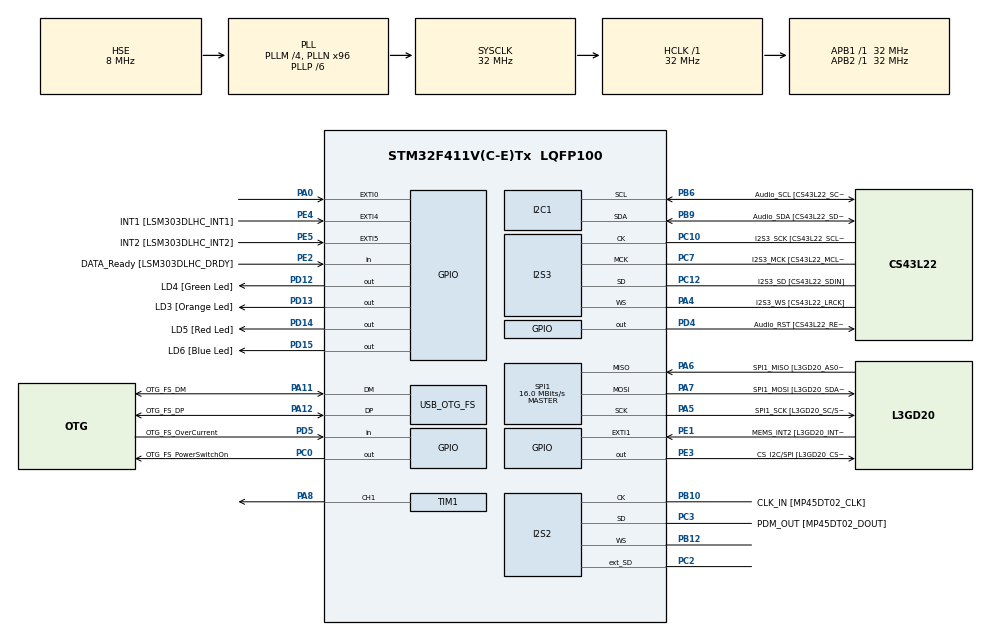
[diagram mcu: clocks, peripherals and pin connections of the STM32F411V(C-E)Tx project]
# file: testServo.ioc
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I2S2.AudioFreq=I2S_AUDIOFREQ_96K
I2S2.ErrorAudioFreq=0.15 %
I2S2.FullDuplexMode=I2S_FULLDUPLEXMODE_ENABLE
I2S2.Instance=SPI$Index
I2S2.RealAudioFreq=96.153 KHz
I2S2.VirtualMode=I2S_MODE_MASTER
I2S3.AudioFreq=I2S_AUDIOFREQ_96K
I2S3.ErrorAudioFreq=-6.99 %
I2S3.FullDuplexMode=I2S_FULLDUPLEXMODE_DISABLE
I2S3.Instance=SPI$Index
I2S3.RealAudioFreq=89.285 KHz
I2S3.VirtualMode=I2S_MODE_MASTER
Mcu.Family=STM32F4
Mcu.Name=STM32F411V(C-E)Tx
Mcu.Package=LQFP100
NVIC.OTG_FS_IRQn=true\:0\:0\:false\:false\:true\:true\:true
NVIC.PriorityGroup=NVIC_PRIORITYGROUP_0
PA0-WKUP.GPIO_ModeDefaultEXTI=GPIO_MODE_EVT_RISING
PA0-WKUP.Signal=GPXTI0
PA10.GPIO_Label=OTG_FS_ID
PA10.Signal=USB_OTG_FS_ID
PA11.GPIO_Label=OTG_FS_DM
PA11.Mode=Host_Only
PA11.Signal=USB_OTG_FS_DM
PA12.GPIO_Label=OTG_FS_DP
PA12.Mode=Host_Only
PA12.Signal=USB_OTG_FS_DP
PA13.GPIO_Label=SWDIO
PA13.Mode=Serial_Wire
PA13.Signal=SYS_JTMS-SWDIO
PA14.GPIO_Label=SWCLK
PA14.Mode=Serial_Wire
PA14.Signal=SYS_JTCK-SWCLK
PA4.GPIO_Label=I2S3_WS [CS43L22_LRCK]
PA4.GPIO_Mode=GPIO_MODE_AF_PP
PA4.GPIO_PuPd=GPIO_NOPULL
PA4.GPIO_Speed=GPIO_SPEED_FREQ_LOW
PA4.Mode=Half_Duplex_Master
PA4.Signal=I2S3_WS
PA5.GPIO_Label=SPI1_SCK [L3GD20_SC/SPC]
PA5.Mode=Full_Duplex_Master
PA5.Signal=SPI1_SCK
PA6.GPIO_Label=SPI1_MISO [L3GD20_AS0/SDO]
PA6.Mode=Full_Duplex_Master
PA6.Signal=SPI1_MISO
PA7.GPIO_Label=SPI1_MOSI [L3GD20_SDA/SDI/SDO]
PA7.Mode=Full_Duplex_Master
PA7.Signal=SPI1_MOSI
PA8.Signal=S_TIM1_CH1
PB10.GPIO_Label=CLK_IN [MP45DT02_CLK]
PB10.Mode=Full_Duplex_Master
PB10.Signal=I2S2_CK
PB12.Mode=Full_Duplex_Master
PB12.Signal=I2S2_WS
PB3.GPIO_Label=SWO
PB3.Signal=SYS_JTDO-SWO
PB6.GPIO_Label=Audio_SCL [CS43L22_SCL]
PB6.GPIO_Mode=GPIO_MODE_AF_OD
PB6.GPIO_PuPd=GPIO_NOPULL
PB6.GPIO_Speed=GPIO_SPEED_FREQ_LOW
PB6.Mode=I2C
PB6.Signal=I2C1_SCL
PB9.GPIO_Label=Audio_SDA [CS43L22_SDA]
PB9.GPIO_Mode=GPIO_MODE_AF_OD
PB9.GPIO_PuPd=GPIO_NOPULL
PB9.GPIO_Speed=GPIO_SPEED_FREQ_LOW
PB9.Mode=I2C
PB9.Signal=I2C1_SDA
PC0.GPIO_Label=OTG_FS_PowerSwitchOn
PC0.PinState=GPIO_PIN_SET
PC0.Signal=GPIO_Output
PC10.GPIO_Label=I2S3_SCK [CS43L22_SCLK]
PC10.GPIO_Mode=GPIO_MODE_AF_PP
PC10.GPIO_PuPd=GPIO_NOPULL
PC10.GPIO_Speed=GPIO_SPEED_FREQ_LOW
PC10.Mode=Half_Duplex_Master
PC10.Signal=I2S3_CK
PC12.GPIO_Label=I2S3_SD [CS43L22_SDIN]
PC12.GPIO_Mode=GPIO_MODE_AF_PP
PC12.GPIO_PuPd=GPIO_NOPULL
PC12.GPIO_Speed=GPIO_SPEED_FREQ_LOW
PC12.Mode=Half_Duplex_Master
PC12.Signal=I2S3_SD
PC14-OSC32_IN.GPIO_Label=PC14-OSC32_IN
PC14-OSC32_IN.Mode=LSE-External-Oscillator
PC14-OSC32_IN.Signal=RCC_OSC32_IN
PC15-OSC32_OUT.GPIO_Label=PC15-OSC32_OUT
PC15-OSC32_OUT.Mode=LSE-External-Oscillator
PC15-OSC32_OUT.Signal=RCC_OSC32_OUT
PC2.Mode=Full_Duplex_Master
PC2.Signal=I2S2_ext_SD
PC3.GPIO_Label=PDM_OUT [MP45DT02_DOUT]
PC3.Mode=Full_Duplex_Master
PC3.Signal=I2S2_SD
PC7.GPIO_Label=I2S3_MCK [CS43L22_MCLK]
PC7.GPIO_Mode=GPIO_MODE_AF_PP
PC7.GPIO_PuPd=GPIO_NOPULL
PC7.GPIO_Speed=GPIO_SPEED_FREQ_LOW
PC7.Mode=Master_Clock_Activated
PC7.Signal=I2S3_MCK
PD12.GPIO_Label=LD4 [Green Led]
PD12.GPIO_PuPd=GPIO_NOPULL
PD12.GPIO_Speed=GPIO_SPEED_FREQ_LOW
PD12.Signal=GPIO_Output
PD13.GPIO_Label=LD3 [Orange Led]
PD13.GPIO_PuPd=GPIO_NOPULL
PD13.GPIO_Speed=GPIO_SPEED_FREQ_LOW
PD13.Signal=GPIO_Output
PD14.GPIO_Label=LD5 [Red Led]
PD14.GPIO_PuPd=GPIO_NOPULL
PD14.GPIO_Speed=GPIO_SPEED_FREQ_LOW
PD14.Signal=GPIO_Output
PD15.GPIO_Label=LD6 [Blue Led]
PD15.GPIO_PuPd=GPIO_NOPULL
PD15.GPIO_Speed=GPIO_SPEED_FREQ_LOW
PD15.Signal=GPIO_Output
PD4.GPIO_Label=Audio_RST [CS43L22_RESET]
PD4.Signal=GPIO_Output
PD5.GPIO_Label=OTG_FS_OverCurrent
PD5.Signal=GPIO_Input
PE1.GPIO_Label=MEMS_INT2 [L3GD20_INT2]
PE1.GPIO_ModeDefaultEXTI=GPIO_MODE_EVT_RISING
PE1.Signal=GPXTI1
PE2.GPIO_Label=DATA_Ready [LSM303DLHC_DRDY]
PE2.Signal=GPIO_Input
PE3.GPIO_Label=CS_I2C/SPI [L3GD20_CS_I2C/SPI]
PE3.Signal=GPIO_Output
PE4.GPIO_Label=INT1 [LSM303DLHC_INT1]
PE4.GPIO_ModeDefaultEXTI=GPIO_MODE_EVT_RISING
PE4.Signal=GPXTI4
PE5.GPIO_Label=INT2 [LSM303DLHC_INT2]
PE5.GPIO_ModeDefaultEXTI=GPIO_MODE_EVT_RISING
PE5.Signal=GPXTI5
PH0\ -\ OSC_IN.GPIO_Label=PH0-OSC_IN
PH0\ -\ OSC_IN.Mode=HSE-External-Clock-Source
PH0\ -\ OSC_IN.Signal=RCC_OSC_IN
PH1\ -\ OSC_OUT.GPIO_Label=PH1-OSC_OUT
PH1\ -\ OSC_OUT.Mode=HSE-External-Clock-Source
PH1\ -\ OSC_OUT.Signal=RCC_OSC_OUT
ProjectManager.HeapSize=0x200
ProjectManager.StackSize=0x400
ProjectManager.TargetToolchain=STM32CubeIDE
RCC.48MHZClocksFreq_Value=48000000
RCC.AHBFreq_Value=32000000
RCC.APB1Freq_Value=32000000
RCC.APB1TimFreq_Value=32000000
RCC.APB2Freq_Value=32000000
RCC.APB2TimFreq_Value=32000000
RCC.CortexFreq_Value=32000000
RCC.HCLKFreq_Value=32000000
RCC.HSE_VALUE=8000000
RCC.HSI_VALUE=16000000
RCC.PLLI2SM=5
RCC.PLLI2SN=200
RCC.PLLM=4
RCC.PLLN=96
RCC.PLLP=RCC_PLLP_DIV6
RCC.SYSCLKFreq_VALUE=32000000
RCC.SYSCLKSource=RCC_SYSCLKSOURCE_PLLCLK
RCC.VCOOutputFreq_Value=192000000
SH.S_TIM1_CH1.0=TIM1_CH1,PWM Generation1 CH1
SPI1.BaudRatePrescaler=SPI_BAUDRATEPRESCALER_2
SPI1.CalculateBaudRate=16.0 MBits/s
SPI1.Direction=SPI_DIRECTION_2LINES
SPI1.Mode=SPI_MODE_MASTER
SPI1.VirtualType=VM_MASTER
TIM1.Channel-PWM\ Generation1\ CH1=TIM_CHANNEL_1
TIM1.Period=1799
TIM1.Prescaler=355
USB_HOST.BSP.number=1
USB_HOST.USBH_HandleTypeDef=hUsbHostFS
USB_HOST.VirtualModeFS=Cdc
USB_HOST0.BSP.STBoard=false
USB_HOST0.BSP.api=Unknown
USB_HOST0.BSP.i2caddr=0
USB_HOST0.BSP.i2creg=0
USB_HOST0.BSP.instance=PC0
USB_HOST0.BSP.ip=GPIO
USB_HOST0.BSP.mode=Output
USB_HOST0.BSP.name=Drive_VBUS_FS
USB_HOST0.BSP.solution=PC0
USB_OTG_FS.VirtualMode=Host_Only
USB_OTG_FS.phy_itface=HCD_PHY_EMBEDDED
VP_TIM1_VS_ClockSourceINT.Mode=Internal
VP_USB_HOST_VS_USB_HOST_CDC_FS.Mode=CDC_FS
board=STM32F411E-DISCO

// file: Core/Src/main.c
/* USER CODE BEGIN Header */
/**
  ******************************************************************************
  * @file           : main.c
  * @brief          : Main program body
  ******************************************************************************
  * @attention
  *
  * <h2><center>&copy; Copyright (c) 2020 STMicroelectronics.
  * All rights reserved.</center></h2>
  *
  * This software component is licensed by ST under Ultimate Liberty license
  * SLA0044, the "License"; You may not use this file except in compliance with
  * the License. You may obtain a copy of the License at:
  *                             www.st.com/SLA0044
  *
  ******************************************************************************
  */
/* USER CODE END Header */
#include "main.h"
#include "i2c.h"
#include "i2s.h"
#include "spi.h"
#include "tim.h"
#include "usb_host.h"
#include "gpio.h"

void SystemClock_Config(void);
void MX_USB_HOST_Process(void);

/* USER CODE BEGIN 0 */
void Servo_Angle(int angle){
	if (angle<0){
		angle = 0;
	}
	if (angle > 180){
		angle = 180;
	}
	angle += 45;
	__HAL_TIM_SET_COMPARE(&htim1, TIM_CHANNEL_1, angle);
}
/* USER CODE END 0 */

int main(void)
{

  /* MCU Configuration--------------------------------------------------------*/

  /* Reset of all peripherals, Initializes the Flash interface and the Systick. */
  HAL_Init();

  /* Configure the system clock */
  SystemClock_Config();

  /* Initialize all configured peripherals */
  MX_GPIO_Init();
  MX_I2C1_Init();
  MX_I2S2_Init();
  MX_I2S3_Init();
  MX_SPI1_Init();
  MX_USB_HOST_Init();
  MX_TIM1_Init();
  /* USER CODE BEGIN 2 */
  HAL_TIM_PWM_Start(&htim1, TIM_CHANNEL_1);
  /* USER CODE END 2 */

  /* Infinite loop */
  while (1)
  {
    MX_USB_HOST_Process();

    /* USER CODE BEGIN 3 */
	    MX_USB_HOST_Process();
	    for (int i=0; i<=180; i++){
	    	Servo_Angle(i);
	    	HAL_Delay(10);
	    }
	    Servo_Angle(0);
	    HAL_Delay(1000);
	    Servo_Angle(180);
	    HAL_Delay(5000);
  }
  /* USER CODE END 3 */
}

void SystemClock_Config(void)
{
  RCC_OscInitTypeDef RCC_OscInitStruct = {0};
  RCC_ClkInitTypeDef RCC_ClkInitStruct = {0};
  RCC_PeriphCLKInitTypeDef PeriphClkInitStruct = {0};

  /** Configure the main internal regulator output voltage
  */
  __HAL_RCC_PWR_CLK_ENABLE();
  __HAL_PWR_VOLTAGESCALING_CONFIG(PWR_REGULATOR_VOLTAGE_SCALE1);
  /** Initializes the RCC Oscillators according to the specified parameters
  * in the RCC_OscInitTypeDef structure.
  */
  RCC_OscInitStruct.OscillatorType = RCC_OSCILLATORTYPE_HSE;
  RCC_OscInitStruct.HSEState = RCC_HSE_BYPASS;
  RCC_OscInitStruct.PLL.PLLState = RCC_PLL_ON;
  RCC_OscInitStruct.PLL.PLLSource = RCC_PLLSOURCE_HSE;
  RCC_OscInitStruct.PLL.PLLM = 4;
  RCC_OscInitStruct.PLL.PLLN = 96;
  RCC_OscInitStruct.PLL.PLLP = RCC_PLLP_DIV6;
  RCC_OscInitStruct.PLL.PLLQ = 4;
  if (HAL_RCC_OscConfig(&RCC_OscInitStruct) != HAL_OK)
  {
    Error_Handler();
  }
  /** Initializes the CPU, AHB and APB buses clocks
  */
  RCC_ClkInitStruct.ClockType = RCC_CLOCKTYPE_HCLK|RCC_CLOCKTYPE_SYSCLK
                              |RCC_CLOCKTYPE_PCLK1|RCC_CLOCKTYPE_PCLK2;
  RCC_ClkInitStruct.SYSCLKSource = RCC_SYSCLKSOURCE_PLLCLK;
  RCC_ClkInitStruct.AHBCLKDivider = RCC_SYSCLK_DIV1;
  RCC_ClkInitStruct.APB1CLKDivider = RCC_HCLK_DIV1;
  RCC_ClkInitStruct.APB2CLKDivider = RCC_HCLK_DIV1;

  if (HAL_RCC_ClockConfig(&RCC_ClkInitStruct, FLASH_LATENCY_1) != HAL_OK)
  {
    Error_Handler();
  }
  PeriphClkInitStruct.PeriphClockSelection = RCC_PERIPHCLK_I2S;
  PeriphClkInitStruct.PLLI2S.PLLI2SN = 200;
  PeriphClkInitStruct.PLLI2S.PLLI2SM = 5;
  PeriphClkInitStruct.PLLI2S.PLLI2SR = 2;
  if (HAL_RCCEx_PeriphCLKConfig(&PeriphClkInitStruct) != HAL_OK)
  {
    Error_Handler();
  }
}

void Error_Handler(void)
{
}

/************************ (C) COPYRIGHT STMicroelectronics *****END OF FILE****/
